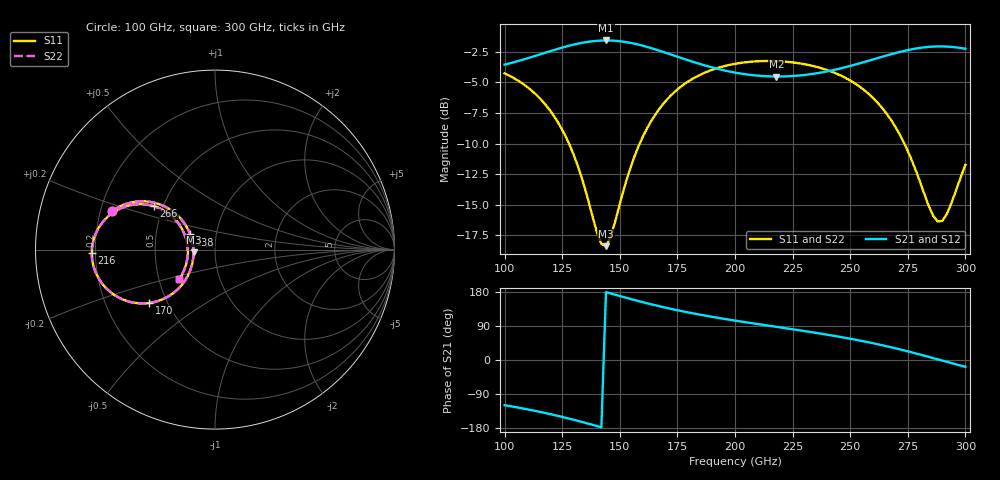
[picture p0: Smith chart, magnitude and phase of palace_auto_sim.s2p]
#  GHZ S DB R 50
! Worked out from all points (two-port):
!   101 points, 100 GHz to 300 GHz, reference 50 ohm
!   highest |S21| = -1.58 dB at 144 GHz (marker M1); lowest = -4.5 dB at 218 GHz (marker M2)
!   |S21| within 3 dB of the highest: start of sweep to end of sweep
!   lowest |S11| = -18.4 dB at 144 GHz (marker M3), VSWR 1.27, Z = 39.3 - j1.21 ohm
!   |S11| at or under -10 dB: 127.9 GHz to 158.7 GHz (30.73 GHz wide, 21.4 % of centre); 273.5 GHz to end of sweep
!   |S22| runs from -18.3 to -3.3 dB; largest |S21 - S12| = 8.3e-14
!   S11 on the Smith chart (normalised r, x): 100 GHz: 0.25, +0.17; 138 GHz: 0.75, +0.13; 170 GHz: 0.40, -0.30; 216 GHz: 0.19, -0.01; 266 GHz: 0.45, +0.26; 300 GHz: 0.64, -0.22
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100  -4.27 159.3  -3.56 -119.3  -3.56 -119.3  -4.27 159.3
120  -7.37 142.3  -2.45 -143.1  -2.45 -143.1  -7.37 142.4
128  -10.03 137.7  -2.01 -154.7  -2.01 -154.7  -10.02 137.8
134  -13.12 139.5  -1.76 -164.2  -1.76 -164.2  -13.11 139.7
138  -15.84 148.5  -1.65 -170.8  -1.65 -170.8  -15.82 148.6
142  -18.20 171.2  -1.59 -177.5  -1.59 -177.5  -18.17 171.3
144  -18.38 -172.8  -1.58 179.1  -1.58 179.1  -18.35 -172.8
158  -10.28 -133.2  -1.92 155.7  -1.92 155.7  -10.27 -133.2
168  -6.96 -139.3  -2.47 140.7  -2.47 140.7  -6.96 -139.3
170  -6.51 -141.0  -2.59 138.0  -2.59 138.0  -6.51 -141.0
182  -4.67 -151.6  -3.34 122.8  -3.34 122.8  -4.66 -151.6
200  -3.49 -166.5  -4.21 104.0  -4.21 104.0  -3.49 -166.5
216  -3.26 -178.4  -4.52 89.3  -4.52 89.3  -3.26 -178.4
218  -3.27 -179.9  -4.53 87.5  -4.53 87.5  -3.27 -179.8
234  -3.68 168.4  -4.31 72.7  -4.31 72.7  -3.67 168.5
252  -5.08 154.6  -3.56 53.8  -3.56 53.8  -5.08 154.7
266  -7.61 144.5  -2.80 36.0  -2.80 36.0  -7.61 144.6
268  -8.15 143.5  -2.70 33.2  -2.70 33.2  -8.15 143.6
280  -12.97 146.8  -2.20 14.9  -2.20 14.9  -12.95 147.0
288  -16.37 177.1  -2.07 1.8  -2.07 1.8  -16.32 177.1
292  -15.74 -160.8  -2.08 -4.9  -2.08 -4.9  -15.69 -160.9
300  -11.74 -140.4  -2.26 -18.0  -2.26 -18.0  -11.72 -140.6
